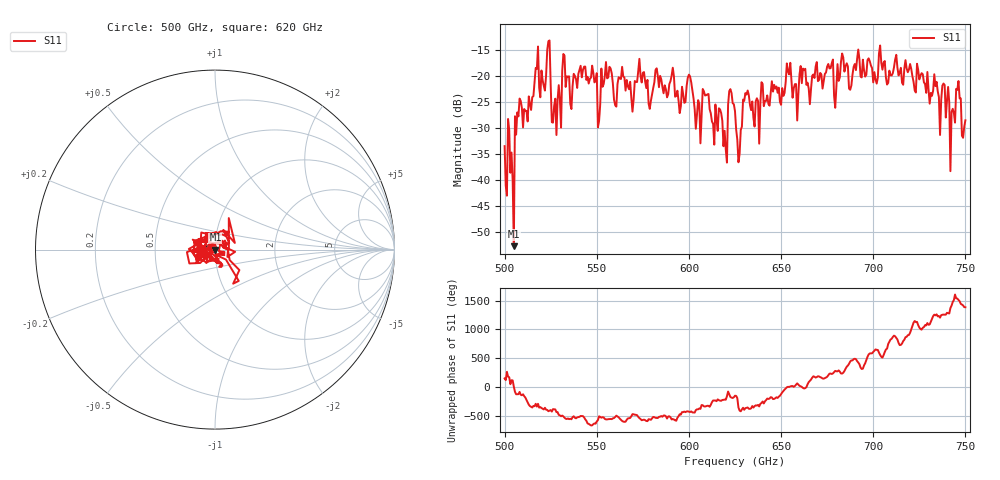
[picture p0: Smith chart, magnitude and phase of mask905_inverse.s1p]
!Created with skrf (http://scikit-rf.org).
# GHz S MA R 50.0
!freq magS11 angS11
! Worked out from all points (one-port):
!   401 points, 500 GHz to 750 GHz, reference 50 ohm
!   lowest |S11| = -52.7 dB at 505 GHz (marker M1), VSWR 1.00, Z = 50.2 + j0.0184 ohm
!   |S11| at or under -10 dB: start of sweep to end of sweep
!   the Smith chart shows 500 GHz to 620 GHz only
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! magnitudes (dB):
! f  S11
! 500 GHz  -33.5
! 505 GHz  -52.7
! 506.9 GHz  -27.0
! 516.9 GHz  -18.5
! 523.8 GHz  -13.3
! 526.9 GHz  -25.8
! 531.2 GHz  -19.1
! 548.8 GHz  -21.2
! 551.9 GHz  -25.5
! 553.8 GHz  -21.6
! 562.5 GHz  -20.5
! 593.8 GHz  -22.8
! 600.6 GHz  -20.1
! 605 GHz  -24.6
! 609.4 GHz  -23.7
! 619.4 GHz  -30.5
! 622.5 GHz  -22.5
! 625 GHz  -26.8
! 627.5 GHz  -35.0
! 630.6 GHz  -23.3
! 636.9 GHz  -24.3
! 656.2 GHz  -24.2
! 687.5 GHz  -22.7
! 718.8 GHz  -19.3
! 739.4 GHz  -28.0
! 743.1 GHz  -26.3
! 746.2 GHz  -21.0
! 750 GHz  -28.5
